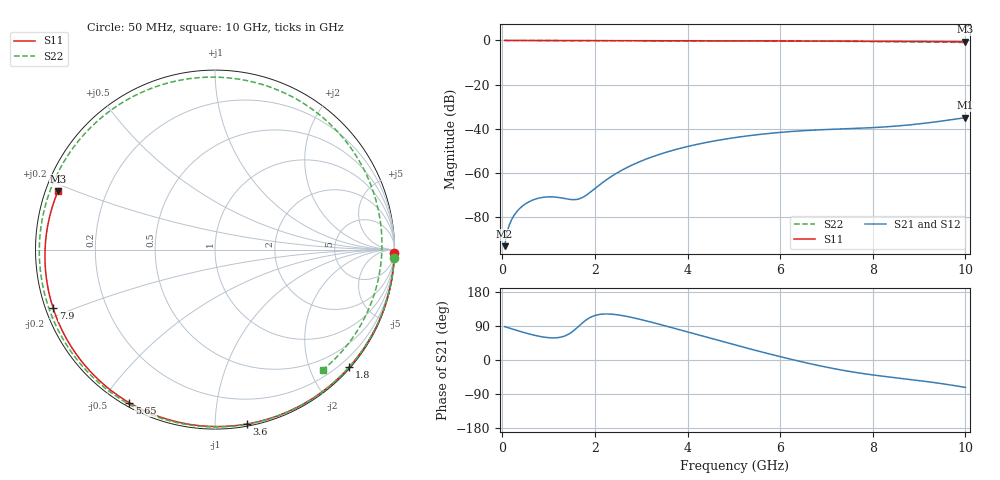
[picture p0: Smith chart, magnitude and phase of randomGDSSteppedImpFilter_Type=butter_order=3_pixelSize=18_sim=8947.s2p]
! freq	dB(S11)	phase(S11)	dB(S12)	phase(S12)
!  dB(S21)	phase(S21)	dB(S22)	phase(S22)
!S-par simulation data
#  GHz  S  DB  R 50
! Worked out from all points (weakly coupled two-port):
!   200 points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, 50 MHz to 10 GHz, reference 50 ohm
!   highest |S21| = -34.88 dB at 10 GHz (marker M1); lowest = -93.0 dB at 50 MHz (marker M2)
!   lowest |S11| = -0.6 dB at 10 GHz (marker M3), VSWR 29.08, Z = 1.77 + j8.99 ohm
!   |S11| at or under -10 dB: nowhere
!   |S22| runs from -0.9 to 0.0 dB; largest |S21 - S12| = 0
!   S11 on the Smith chart (normalised r, x): 50 MHz: 1, -98; 1.8 GHz: 0.02, -2.65; 3.6 GHz: 0.01, -1.20; 5.65 GHz: 0.02, -0.59; 7.9 GHz: 0.02, -0.17; 10 GHz: 0.04, +0.18
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0.05  -0.00 -1.2  -92.98 88.1  -92.98 88.1  -0.00 -2.8
0.2  -0.01 -4.7  -81.07 82.3  -81.07 82.3  -0.02 -11.1
0.45  -0.02 -10.5  -74.60 73.1  -74.60 73.1  -0.04 -24.7
0.75  -0.02 -17.5  -71.48 63.7  -71.48 63.7  -0.05 -40.8
1.25  -0.04 -28.9  -71.08 60.0  -71.08 60.0  -0.08 -66.2
1.55  -0.05 -35.7  -71.96 78.3  -71.96 78.3  -0.09 -80.5
1.75  -0.05 -40.2  -70.76 99.8  -70.76 99.8  -0.10 -89.6
1.8  -0.05 -41.3  -70.12 104.7  -70.12 104.7  -0.10 -91.8
2.55  -0.07 -57.7  -59.02 118.1  -59.02 118.1  -0.13 -123.0
3.4  -0.10 -75.6  -51.44 94.0  -51.44 94.0  -0.16 -154.3
3.6  -0.11 -79.7  -50.15 87.4  -50.15 87.4  -0.16 -161.3
4.3  -0.13 -93.6  -46.55 63.9  -46.55 63.9  -0.19 175.0
5.05  -0.16 -108.0  -43.82 38.9  -43.82 38.9  -0.23 150.0
5.65  -0.20 -119.2  -42.26 19.7  -42.26 19.7  -0.27 129.5
6.2  -0.23 -129.3  -41.22 2.9  -41.22 2.9  -0.30 110.0
6.7  -0.26 -138.4  -40.55 -11.2  -40.55 -11.2  -0.34 91.4
7.3  -0.31 -149.3  -40.00 -26.0  -40.00 -26.0  -0.40 67.9
7.9  -0.36 -160.2  -39.50 -37.7  -39.50 -37.7  -0.47 43.1
8.35  -0.41 -168.5  -38.95 -44.8  -38.95 -44.8  -0.53 23.9
8.75  -0.45 -175.9  -38.25 -50.6  -38.25 -50.6  -0.60 6.4
9.15  -0.50 176.4  -37.34 -56.7  -37.34 -56.7  -0.69 -11.1
10  -0.60 159.6  -34.88 -72.4  -34.88 -72.4  -0.92 -48.2
